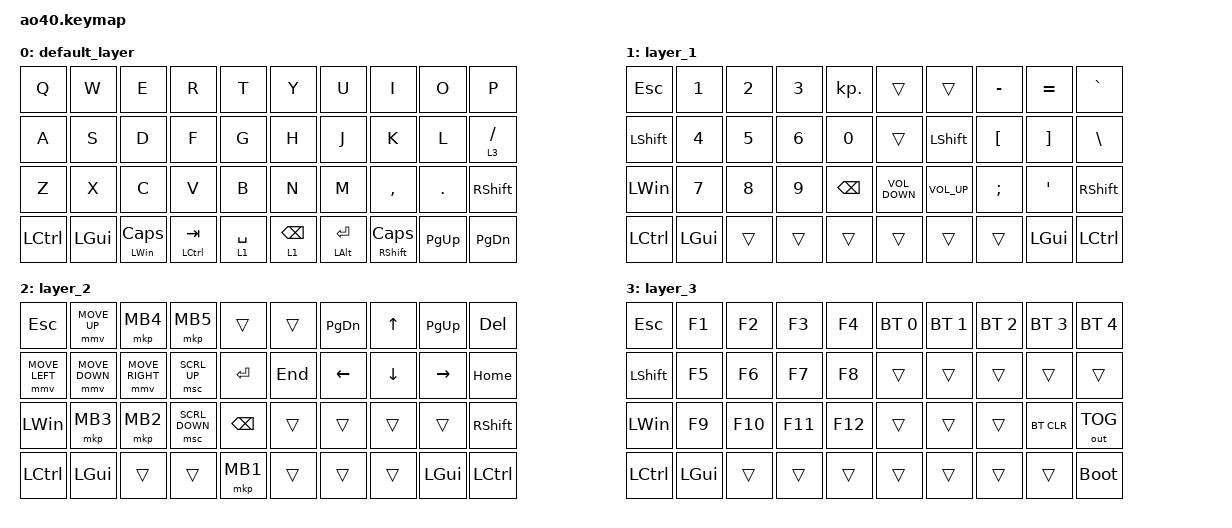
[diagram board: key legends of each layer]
#define ZMK_POINTING_DEFAULT_MOVE_VAL 2500  // default: 600
#define ZMK_POINTING_DEFAULT_SCRL_VAL 40    // default: 10

#include <behaviors.dtsi>
#include <dt-bindings/zmk/bt.h>
#include <dt-bindings/zmk/keys.h>
#include <dt-bindings/zmk/outputs.h>
#include <dt-bindings/zmk/pointing.h>

/ {
    behaviors {
        taptap: taptap {
            compatible = "zmk,behavior-hold-tap";
            label = "TAPTAP";
            bindings = <&kp>, <&kp>;

            #binding-cells = <2>;
            tapping-term-ms = <200>;
            quick-tap-ms = <180>;
            require-prior-idle-ms = <150>;
            flavor = "tap-preferred";
        };

        holdhold: holdhold {
            compatible = "zmk,behavior-hold-tap";
            label = "HOLDHOLD";
            bindings = <&mo>, <&kp>;

            #binding-cells = <2>;
            flavor = "tap-unless-interrupted";
            require-prior-idle-ms = <150>;
            tapping-term-ms = <200>;
            retro-tap;
            quick-tap-ms = <180>;
        };
    };

    combos {
        compatible = "zmk,combos";

        tog2 {
            bindings = <&tog 2>;
            key-positions = <10 14>;
            timeout-ms = <50>;
        };

        r-tog2 {
            bindings = <&tog 2>;
            key-positions = <15 19>;
            timeout-ms = <50>;
        };
    };

    keymap {
        compatible = "zmk,keymap";

        default_layer {
            bindings = <
&kp Q      &kp W     &kp E              &kp R              &kp T        &kp Y                  &kp U                   &kp I                         &kp O      &kp P
&kp A      &kp S     &kp D              &kp F              &kp G        &kp H                  &kp J                   &kp K                         &kp L      &lt 3 SLASH
&kp Z      &kp X     &kp C              &kp V              &kp B        &kp N                  &kp M                   &kp COMMA                     &kp DOT    &kp RSHFT
&kp LCTRL  &kp LGUI  &taptap LWIN CAPS  &taptap LCTRL TAB  &lt 1 SPACE  &holdhold 1 BACKSPACE  &taptap LEFT_ALT ENTER  &taptap RIGHT_SHIFT CAPSLOCK  &kp PG_UP  &kp PG_DN
            >;
        };

        layer_1 {
            bindings = <
&kp ESC       &kp NUMBER_1  &kp NUMBER_2  &kp NUMBER_3  &kp KP_DOT     &trans             &trans           &kp MINUS  &kp EQUAL  &kp GRAVE
&kp LSHFT     &kp NUMBER_4  &kp NUMBER_5  &kp NUMBER_6  &kp NUMBER_0   &trans             &kp LSHFT        &kp LBKT   &kp RBKT   &kp BSLH
&kp LEFT_WIN  &kp N7        &kp NUMBER_8  &kp NUMBER_9  &kp BACKSPACE  &kp C_VOLUME_DOWN  &kp C_VOLUME_UP  &kp SEMI   &kp APOS   &kp RSHFT
&kp LCTRL     &kp LGUI      &trans        &trans        &trans         &trans             &trans           &trans     &kp LGUI   &kp LCTRL
            >;
        };

        layer_2 {
            bindings = <
&kp ESC         &mmv MOVE_UP    &mkp MB4         &mkp MB5        &trans         &trans   &kp PG_DN  &kp UP    &kp PG_UP  &kp DEL
&mmv MOVE_LEFT  &mmv MOVE_DOWN  &mmv MOVE_RIGHT  &msc SCRL_UP    &kp ENTER      &kp END  &kp LEFT   &kp DOWN  &kp RIGHT  &kp HOME
&kp LEFT_WIN    &mkp MB3        &mkp MB2         &msc SCRL_DOWN  &kp BACKSPACE  &trans   &trans     &trans    &trans     &kp RSHFT
&kp LCTRL       &kp LGUI        &trans           &trans          &mkp MB1       &trans   &trans     &trans    &kp LGUI   &kp LCTRL
            >;
        };

        layer_3 {
            bindings = <
&kp ESC    &kp F1    &kp F2   &kp F3   &kp F4   &bt BT_SEL 0  &bt BT_SEL 1  &bt BT_SEL 2  &bt BT_SEL 3  &bt BT_SEL 4
&kp LSHFT  &kp F5    &kp F6   &kp F7   &kp F8   &trans        &trans        &trans        &trans        &trans
&kp LWIN   &kp F9    &kp F10  &kp F11  &kp F12  &trans        &trans        &trans        &bt BT_CLR    &out OUT_TOG
&kp LCTRL  &kp LGUI  &trans   &trans   &trans   &trans        &trans        &trans        &trans        &bootloader
            >;
        };
    };
};
